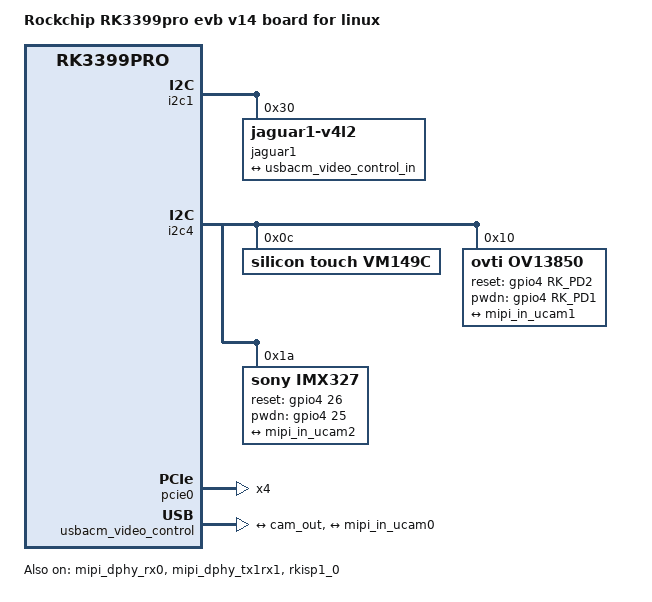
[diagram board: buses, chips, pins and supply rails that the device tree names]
// SPDX-License-Identifier: (GPL-2.0+ OR MIT)
/*
 * Copyright (c) 2019 Fuzhou Rockchip Electronics Co., Ltd
 *
 */

/dts-v1/;
#include "rk3399pro-evb-v11-linux.dts"

/ {
	model = "Rockchip RK3399pro evb v14 board for linux";
	compatible = "rockchip,rk3399pro-evb-v14-linux", "rockchip,rk3399pro";

	reserved-memory {
		#address-cells = <2>;
		#size-cells = <2>;

		dma_trans: dma_trans@3c000000 {
			//no-map;
			reg = <0x0 0x3c000000 0x0 0x04000000>;
		};
	};
};

/delete-node/ &imx327;
/delete-node/ &ov13850;
/delete-node/ &vm149c;
&i2c1 {
	status = "okay";
	i2c-scl-rising-time-ns = <345>;
	i2c-scl-falling-time-ns = <11>;
	pinctrl-0 = <&i2c1_xfer>, <&cam_pwren_high>;

	jaguar1: jaguar1@30 {
		compatible = "jaguar1-v4l2";
		status = "okay";
		reg = <0x30>;
		clocks = <&cru SCLK_CIF_OUT>;
		clock-names = "xvclk";
		/*
		 * pd-gpios = <&gpio4 21 GPIO_ACTIVE_HIGH>; // conflict with csi-ctl-gpios
		 * rst-gpios = <&gpio0 12 GPIO_ACTIVE_HIGH>;
		 */
		rockchip,camera-module-index = <0>;
		rockchip,camera-module-facing = "back";
		rockchip,camera-module-name = "jaguar1";
		rockchip,camera-module-lens-name = "jaguar1";
		port {
			cam_out: endpoint {
				remote-endpoint = <&usbacm_video_control_in>;
				data-lanes = <1 2 3 4>;
			};
		};
	};
};

&i2c4 {
	status = "okay";

	i2c-scl-rising-time-ns = <345>;
	i2c-scl-falling-time-ns = <11>;

	vm149c: vm149c@0c {
		compatible = "silicon touch,vm149c";
		status = "okay";
		reg = <0x0c>;
		rockchip,camera-module-index = <0>;
		rockchip,camera-module-facing = "back";
	};

	ov13850: ov13850@10 {
		compatible = "ovti,ov13850";
		status = "okay";
		reg = <0x10>;
		clocks = <&cru SCLK_CIF_OUT>;
		clock-names = "xvclk";

		/* conflict with csi-ctl-gpios */
		reset-gpios = <&gpio4 RK_PD2 GPIO_ACTIVE_HIGH>;
		pwdn-gpios = <&gpio4 RK_PD1 GPIO_ACTIVE_HIGH>;
		pinctrl-names = "rockchip,camera_default";
		pinctrl-0 = <&cif_clkout>;
		rockchip,camera-module-index = <0>;
		rockchip,camera-module-facing = "back";
		rockchip,camera-module-name = "CMK-CT0116";
		rockchip,camera-module-lens-name = "Largan-50013A1";
		lens-focus = <&vm149c>;

		port {
			ucam_out1: endpoint {
				remote-endpoint = <&mipi_in_ucam1>;
				data-lanes = <1 2>;
			};
		};
	};

	imx327: imx327@1a {
		compatible = "sony,imx327";
		status = "okay";
		reg = <0x1a>;
		clocks = <&cru SCLK_CIF_OUT>;
		clock-names = "xvclk";
		/* conflict with csi-ctl-gpios */
		reset-gpios = <&gpio4 26 GPIO_ACTIVE_HIGH>;
		pwdn-gpios = <&gpio4 25 GPIO_ACTIVE_HIGH>;
		pinctrl-names = "default";
		pinctrl-0 = <&cif_clkout>;
		rockchip,camera-module-index = <0>;
		rockchip,camera-module-facing = "back";
		rockchip,camera-module-name = "TongJu";
		rockchip,camera-module-lens-name = "CHT842-MD";
		port {
			ucam_out2: endpoint {
				remote-endpoint = <&mipi_in_ucam2>;
				data-lanes = <1 2>;
			};
		};
	};
};

&mipi_dphy_rx0 {
	status = "okay";

	ports {
		#address-cells = <1>;
		#size-cells = <0>;

		port@0 {
			reg = <0>;
			#address-cells = <1>;
			#size-cells = <0>;

			mipi_in_ucam0: endpoint@1 {
				reg = <1>;
				remote-endpoint = <&usbacm_video_control_out>;
				data-lanes = <1 2 3 4>;
			};
		};

		port@1 {
			reg = <1>;
			#address-cells = <1>;
			#size-cells = <0>;

			dphy_rx0_out: endpoint@0 {
				reg = <0>;
				remote-endpoint = <&isp0_mipi_in>;
			};
		};
	};
};

&mipi_dphy_tx1rx1 {
	status = "okay";

	ports {
		#address-cells = <1>;
		#size-cells = <0>;

		port@0 {
			reg = <0>;
			#address-cells = <1>;
			#size-cells = <0>;

			mipi_in_ucam1: endpoint@1 {
				reg = <1>;
				remote-endpoint = <&ucam_out1>;
				data-lanes = <1 2>;
			};
		};

		port@1 {
			reg = <1>;
			#address-cells = <1>;
			#size-cells = <0>;

			dphy_tx1rx1_out: endpoint@0 {
				reg = <0>;
				remote-endpoint = <&isp1_mipi_in>;
			};
		};
	};
};

&pcie0 {
	/delete-property/ ep-gpios;
	num-lanes = <4>;
	pinctrl-names = "default";
	pinctrl-0 = <&pcie_clkreqn_cpm>;
	max-link-speed = <1>;
	memory-region = <&dma_trans>;
	busno = <0>;
	rockchip,dma_trx_enabled = <1>;
	rockchip,deferred = <1>;
	status = "okay";
};

&rkisp1_0 {
	status = "okay";

	port {
		#address-cells = <1>;
		#size-cells = <0>;

		isp0_mipi_in: endpoint@0 {
			reg = <0>;
			remote-endpoint = <&dphy_rx0_out>;
		};
	};
};

&usbacm_video_control {
	status = "okay";
	rockchip,camera-module-index = <0>;
	rockchip,camera-module-facing = "back";
	rockchip,camera-module-name = "usbacm_video_control";
	rockchip,camera-module-lens-name = "usbacm_video_control";

	ports {
		#address-cells = <1>;
		#size-cells = <0>;

		port@0 {
			reg = <0>;
			#address-cells = <1>;
			#size-cells = <0>;

			usbacm_video_control_in: endpoint@0 {
				reg = <0>;
				remote-endpoint = <&cam_out>;
				data-lanes = <1 2 3 4>;
			};
		};

		port@1 {
			reg = <1>;
			#address-cells = <1>;
			#size-cells = <0>;

			usbacm_video_control_out: endpoint@1 {
				reg = <1>;
				remote-endpoint = <&mipi_in_ucam0>;
				data-lanes = <1 2 3 4>;
			};
		};
	};
};
